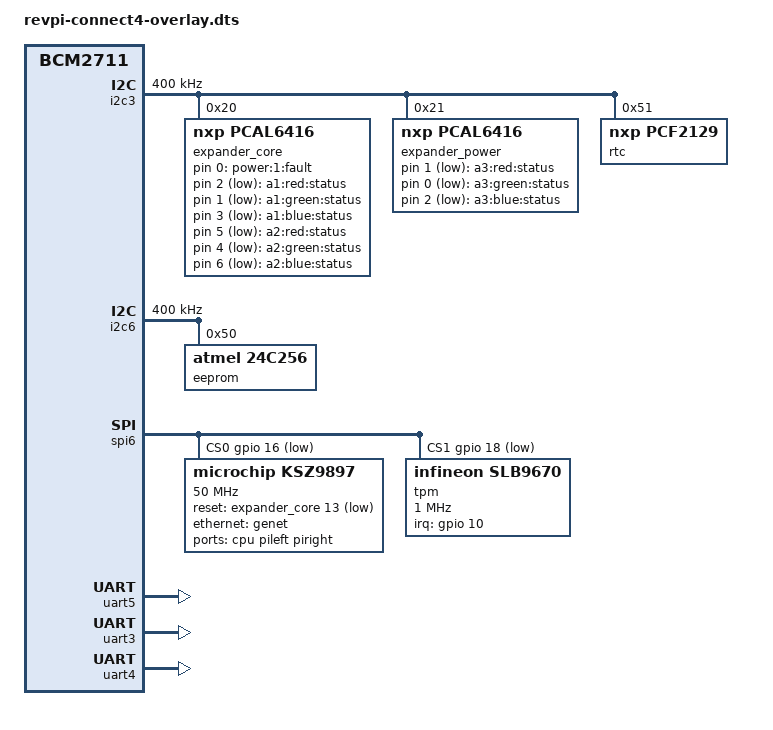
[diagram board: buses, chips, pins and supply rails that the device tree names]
// SPDX-License-Identifier: GPL-2.0-only
/dts-v1/;
/plugin/;
#include <dt-bindings/gpio/gpio.h>
#include <dt-bindings/interrupt-controller/irq.h>
#include <dt-bindings/pinctrl/bcm2835.h>

/ {
	compatible = "brcm,bcm2711";

	fragment@0 {
		target-path = "/";
		__overlay__ {
			compatible = "kunbus,revpi-connect4", "brcm,bcm2711";

			leds {
				compatible = "gpio-leds";
				power_red {
					label = "power:1:fault";
					gpios = <&expander_core 0 GPIO_ACTIVE_HIGH>;
					linux,default-trigger = "power_red";
				};
				a1_red {
					label = "a1:red:status";
					gpios = <&expander_core 2 GPIO_ACTIVE_LOW>;
					linux,default-trigger = "a1_red";
				};
				a1_green {
					label = "a1:green:status";
					gpios = <&expander_core 1 GPIO_ACTIVE_LOW>;
					linux,default-trigger = "a1_green";
				};
				a1_blue {
					label = "a1:blue:status";
					gpios = <&expander_core 3 GPIO_ACTIVE_LOW>;
					linux,default-trigger = "a1_blue";
				};
				a2_red {
					label = "a2:red:status";
					gpios = <&expander_core 5 GPIO_ACTIVE_LOW>;
					linux,default-trigger = "a2_red";
				};
				a2_green {
					label = "a2:green:status";
					gpios = <&expander_core 4 GPIO_ACTIVE_LOW>;
					linux,default-trigger = "a2_green";
				};
				a2_blue {
					label = "a2:blue:status";
					gpios = <&expander_core 6 GPIO_ACTIVE_LOW>;
					linux,default-trigger = "a2_blue";
				};
				a3_red {
					label = "a3:red:status";
					gpios = <&expander_power 1 GPIO_ACTIVE_LOW>;
					linux,default-trigger = "a3_red";
				};
				a3_green {
					label = "a3:green:status";
					gpios = <&expander_power 0 GPIO_ACTIVE_LOW>;
					linux,default-trigger = "a3_green";
				};
				a3_blue {
					label = "a3:blue:status";
					gpios = <&expander_power 2 GPIO_ACTIVE_LOW>;
					linux,default-trigger = "a3_blue";
				};
			};
		};
	};

	/* PINMUX */
	fragment@1 {
		target = <&gpio>;
		__overlay__ {
			i2c3_pins: i2c3_pins {
				/* SDA, SCL */
				brcm,pins     = <2 3>;
				brcm,function = <BCM2835_FSEL_ALT5>;
			};
			i2c6_pins: i2c6_pins {
				/* SDA (ID_SD), SCL (ID_SC)*/
				brcm,pins     = <0 1>;
				brcm,function = <BCM2835_FSEL_ALT5>;
			};
			spi6_pins: spi6_pins {
				/* MISO, MOSI, SCLK */
				brcm,pins     = <19 20 21>;
				brcm,function = <BCM2835_FSEL_ALT3>;
			};
			spi6_cs_pins: spi6_cs_pins {
				/* ksz9897, tpm */
				brcm,pins     = <16 18>;
				brcm,function = <BCM2835_FSEL_GPIO_OUT>;
			};
			tpm_pins: tpm_pins {
				/* IRQ */
				brcm,pins     = <10>;
				brcm,function = <BCM2835_FSEL_GPIO_IN>;
			};
			rs485_pins: rs485_pins {
				/* TX RX TX_EN TERM */
				brcm,pins     = <12 13 15 14>;
				brcm,function = <BCM2835_FSEL_ALT4
				                 BCM2835_FSEL_ALT4
				                 BCM2835_FSEL_ALT4
				                 BCM2835_FSEL_GPIO_OUT>;
				brcm,pull     = <BCM2835_PUD_OFF
				                 BCM2835_PUD_OFF
				                 BCM2835_PUD_DOWN
				                 BCM2835_PUD_DOWN>;
			};
			pb_uart_left_pins: pb_uart_left_pins {
				/* TX RX TX_EN */
				brcm,pins     = <4 5 7>;
				brcm,function = <BCM2835_FSEL_ALT4>;
				brcm,pull     = <BCM2835_PUD_OFF>;
			};
			pb_uart_right_pins: pb_uart_right_pins {
				/* TX RX TX_EN */
				brcm,pins     = <8 9 11>;
				brcm,function = <BCM2835_FSEL_ALT4>;
				brcm,pull     = <BCM2835_PUD_OFF>;
			};
		};
	};

	/* I2C3 */
	fragment@2 {
		target = <&i2c3>;
		__overlay__ {
			#address-cells = <1>;
			#size-cells = <0>;
			pinctrl-names = "default";
			pinctrl-0 = <&i2c3_pins>;
			clock-frequency = <400000>;
			status = "okay";

			expander_core: gpio@20 {
				/* 100kHz, 400kHz */
				compatible = "nxp,pcal6416";
				reg = <0x20>;
				gpio-controller;
				#gpio-cells = <2>;
				status = "okay";
			};

			expander_power: gpio@21 {
				/* 100kHz, 400kHz */
				compatible = "nxp,pcal6416";
				reg = <0x21>;
				gpio-controller;
				#gpio-cells = <2>;
				status = "okay";
			};

			rtc@51 {
				/* 100kHz, 400kHz */
				compatible = "nxp,pcf2129";
				reg = <0x51>;
				status = "okay";
				reset-source;
			};
		};
	};

	/* I2C6 */
	fragment@3 {
		target = <&i2c6>;
		__overlay__ {
			#address-cells = <1>;
			#size-cells = <0>;
			pinctrl-names = "default";
			pinctrl-0 = <&i2c6_pins>;
			clock-frequency = <400000>;
			status = "okay";

			eeprom: eeprom@50 {
				/* 100kHz, 400kHz or 1MHz */
				compatible = "atmel,24c256";
				reg = <0x50>;
				pagesize = <64>;
				status = "okay";
			};
		};
	};

	/* SPI6 */
	fragment@4 {
		target = <&spi6>;
		__overlay__ {
			#address-cells = <1>;
			#size-cells = <0>;
			pinctrl-names = "default";
			pinctrl-0 = <&spi6_pins>, <&spi6_cs_pins>;
			cs-gpios = <&gpio 16 GPIO_ACTIVE_LOW>,
				   <&gpio 18 GPIO_ACTIVE_LOW>;
			status = "okay";

			ksz9897: ksz9897@0 {
				compatible = "microchip,ksz9897";
				reg = <0>;
				spi-max-frequency = <50000000>;
				spi-cpha;
				spi-cpol;
				reset-gpios = <&expander_core 13 GPIO_ACTIVE_LOW>;
				status = "okay";

				ports {
					#address-cells = <1>;
					#size-cells = <0>;
					/* PORT 1 */
					port@0 {
						reg = <0>;
						label = "cpu";
						ethernet = <&genet>;
					};
					/* PORT 2 */
					port@1 {
						reg = <1>;
						label = "pileft";
					};
					/* PORT 3 */
					port@2 {
						reg = <2>;
						label = "piright";
					};
					/*
					 * PORT 4-7 unused
					 */
				};
			};

			tpm: tpm@1 {
				compatible = "infineon,slb9670";
				pinctrl-names = "default";
				pinctrl-0 = <&tpm_pins>;
				reg = <1>;
				spi-max-frequency = <1000000>;
				interrupt-parent = <&gpio>;
				#interrupt-cells = <2>;
				interrupts = <10 IRQ_TYPE_LEVEL_LOW>;
				status = "okay";
			};
		};
	};

	fragment@5 {
		target = <&uart5>;
		__overlay__ {
			pinctrl-names = "default";
			pinctrl-0 = <&rs485_pins>;
			status = "okay";
			linux,rs485-enabled-at-boot-time;
			rs485-term-gpios = <&gpio 14 GPIO_ACTIVE_LOW>;
		};
	};
	

	fragment@6 {
		target = <&uart3>;
		__overlay__ {
			pinctrl-names = "default";
			pinctrl-0 = <&pb_uart_left_pins>;
			status = "okay";
			linux,rs485-enabled-at-boot-time;
		};
	};

	fragment@7 {
		target = <&uart4>;
		__overlay__ {
			pinctrl-names = "default";
			pinctrl-0 = <&pb_uart_right_pins>;
			status = "okay";
			linux,rs485-enabled-at-boot-time;
		};
	};
};
